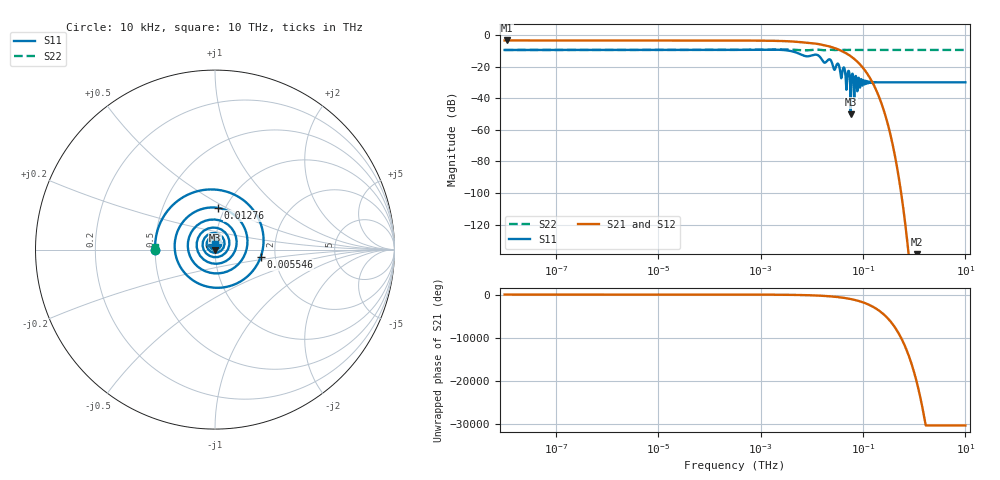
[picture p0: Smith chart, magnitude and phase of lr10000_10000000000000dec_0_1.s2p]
! NPort=2 DATA=4501 NOISE=0 GROUPDELAY=0 COMPLEX_DATAFORMAT=RI
! NumOfBlock=1 NumOfParam=0
! .MODEL Smodel S TSTONEFILE=./link_rx/link_rx_s1/lr10000_10000000000000dec_0_1.s2p TYPE=S
!  -- The above .MODEL line can be used for the S element in the netlist.
# Hz S RI R  50
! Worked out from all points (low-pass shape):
!   4501 points, 10 kHz to 10 THz, reference 50 ohm
!   highest |S21| = -3.52 dB at 11.22 kHz (marker M1); lowest = -198.9 dB at 1.127 THz (marker M2)
!   |S21| within 3 dB of the highest: start of sweep to 17.14 GHz
!   lowest |S11| = -50.1 dB at 57.54 GHz (marker M3), VSWR 1.01, Z = 49.7 - j0.18 ohm
!   |S11| at or under -10 dB: 3.605 GHz to end of sweep
!   |S22| runs from -9.8 to -9.2 dB; largest |S21 - S12| = 1e-10
!   S11 on the Smith chart (normalised r, x): 10 kHz: 0.50, +0.00; 5.546 GHz: 1.68, -0.15; 12.76 GHz: 0.93, +0.46; 10 THz: 0.99, +0.06
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10000  -0.3333 2.09e-06  0.6667 -2.09e-06  0.6667 -2.09e-06  -0.3333 -2.02e-11
11220.2  -0.3333 2.35e-06  0.6667 -2.35e-06  0.6667 -2.35e-06  -0.3333 2.02e-11
316228  -0.3333 6.62e-05  0.6667 -6.62e-05  0.6667 -6.62e-05  -0.3333 2.79e-10
1e7  -0.3334 0.00209  0.6666 -0.00209  0.6666 -0.00209  -0.3334 2.79e-07
3.16228e8  -0.3296 0.0658  0.6606 -0.066  0.6606 -0.066  -0.3361 0.000277
2.02302e9  -0.1189 0.319  0.5178 -0.388  0.5178 -0.388  -0.3465 0.00966
5.54626e9  0.2548 -0.0404  -0.1149 -0.5856  -0.1149 -0.5856  -0.3306 0.0248
1e10  -0.2247 0.014  -0.5464 0.00533  -0.5464 0.00533  -0.3337 0.00463
1.27644e10  0.0176 0.2323  -0.329 0.4038  -0.329 0.4038  -0.3425 0.0153
1.57036e10  0.1629 -0.0347  0.119 0.4725  0.119 0.4725  -0.331 0.021
1.93197e10  -0.1375 -0.041  0.4443 0.0879  0.4443 0.0879  -0.3312 0.00822
2.42103e10  0.1066 0.0978  0.0897 -0.4029  0.0897 -0.4029  -0.3367 0.0188
2.92415e10  -0.0915 -0.0204  -0.3635 -0.0783  -0.3635 -0.0783  -0.332 0.0102
3.40408e10  0.0667 0.0831  -0.0895 0.327  -0.0895 0.327  -0.3361 0.0171
3.89045e10  -0.0547 -0.0151  0.292 0.0937  0.292 0.0937  -0.3322 0.0118
4.9204e10  -0.0425 0.0083  -0.2444 -0.052  -0.2444 -0.052  -0.3332 0.0123
5.7544e10  -0.00254 -0.00181  0.1584 0.1402  0.1584 0.1402  -0.3327 0.014
1.52055e11  -0.00214 0.0324  -0.0234 0.0219  -0.0234 0.0219  -0.3341 0.0141
3.16228e11  -0.00201 0.0317  0.000681 0.001  0.000681 0.001  -0.3341 0.0141
4.67735e11  -0.00201 0.0317  -5.41e-05 -2.32e-05  -5.41e-05 -2.32e-05  -0.3341 0.0141
1.1272e12  -0.00201 0.0317  -1.12e-10 -1.76e-11  -1.12e-10 -1.76e-11  -0.3341 0.0141
1e13  -0.00201 0.0317  0 0  0 0  -0.3341 0.0141
